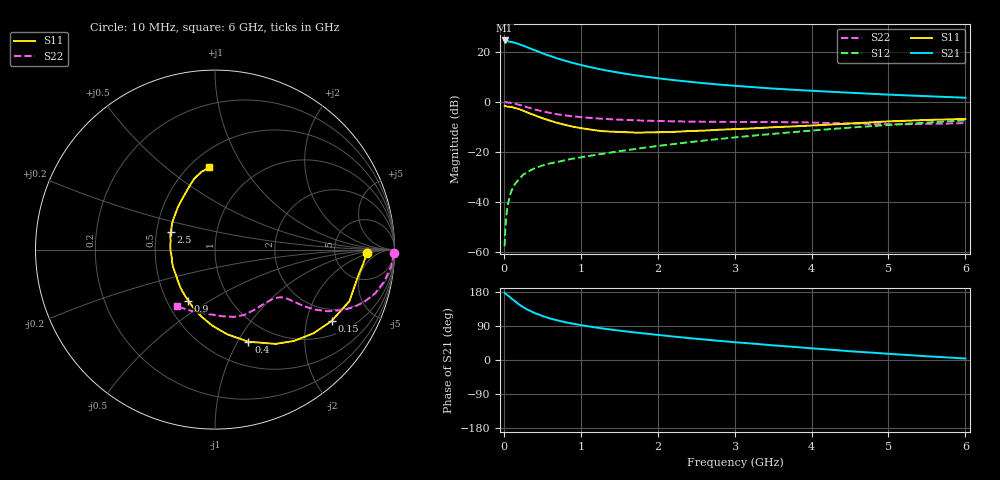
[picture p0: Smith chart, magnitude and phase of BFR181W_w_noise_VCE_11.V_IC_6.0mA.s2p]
! Infineon Technologies  Discrete & RF Semiconductors
! BFR181W
! VCE =  11. V,  IC =  6.0 mA
! Common Emitter S-Parameters:  Jan 2017
# GHz  S  MA  R  50
!  f  S11  S21  S12  S22
! GHz  MAG  ANG  MAG  ANG  MAG  ANG  MAG  ANG
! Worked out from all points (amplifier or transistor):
!   77 points, 10 MHz to 6 GHz, reference 50 ohm
!   highest |S21| = 24.7 dB at 10 MHz (marker M1)
!   |S21| within 3 dB of that: start of sweep to 326.5 MHz
!   unconditionally stable (mu >= 1): 1.282 GHz to 3.363 GHz
!   at 130 MHz: K = 0.20, MSG = 28.8 dB, |S12| = -33.7 dB
!   at 2.2 GHz: K = 1.07, MAG = 11.2 dB, |S12| = -16.9 dB
!   at 6 GHz: K = 0.86, MSG = 4.5 dB, |S12| = -7.3 dB
!   lowest NFmin = 1.03 dB at 450 MHz
!   S11 on the Smith chart (normalised r, x): 10 MHz: 12, -1; 150 MHz: 1.49, -2.83; 400 MHz: 0.76, -1.11; 900 MHz: 0.64, -0.40; 2.5 GHz: 0.59, +0.12; 6 GHz: 0.62, +0.72
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0.01  0.8474 -1.1  17.15 178.0  0.0013 85.3  0.9954 -1.1
0.02  0.8296 -5.5  16.84 175.5  0.003 86.5  0.9943 -1.9
0.05  0.8111 -10.4  16.55 170.8  0.0085 79.9  0.9858 -5.5
0.1  0.8022 -21.0  15.99 162.1  0.0168 78.3  0.9593 -10.7
0.15  0.7615 -31.5  15.31 154.1  0.0234 73.5  0.9241 -15.4
0.2  0.7204 -40.3  14.41 146.3  0.0289 70.3  0.8809 -19.3
0.25  0.6731 -49.1  13.55 139.6  0.0352 65.8  0.8372 -22.5
0.3  0.6251 -57.2  12.61 133.6  0.039 64.1  0.7928 -25.1
0.4  0.5457 -70.1  10.98 123.8  0.0472 60.7  0.7159 -28.7
0.5  0.4773 -81.7  9.535 116.2  0.0535 58.4  0.6545 -30.8
0.6  0.4242 -92.0  8.396 109.7  0.0591 57.3  0.6069 -32.0
0.7  0.3815 -101.3  7.448 104.4  0.0633 58.0  0.5694 -32.7
0.9  0.3209 -117.8  6.066 95.7  0.0738 58.0  0.5182 -33.6
1.1  0.2856 -132.6  5.108 88.9  0.0828 59.7  0.4853 -34.3
1.3  0.2607 -146.1  4.396 82.8  0.0927 60.5  0.4618 -35.3
1.6  0.2493 -163.9  3.654 75.1  0.109 61.7  0.4392 -37.6
2.1  0.2502 172.7  2.882 64.2  0.1379 62.6  0.4149 -43.6
2.5  0.2652 158.4  2.477 56.1  0.1629 62.2  0.4052 -49.6
3.1  0.2915 141.1  2.067 45.4  0.2025 60.6  0.3994 -59.1
4.1  0.3453 120.2  1.654 29.4  0.276 55.6  0.386 -75.8
5.1  0.4158 105.2  1.39 15.1  0.3554 48.3  0.3598 -99.8
6  0.4594 94.0  1.222 3.9  0.431 40.4  0.3805 -123.8
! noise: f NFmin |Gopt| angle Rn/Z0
0.45  1.03  0.28  16  0.22
0.9  1.07  0.26  30  0.22
1.9  1.49  0.12  82  0.19
2.4  1.65  0.1  95  0.23
